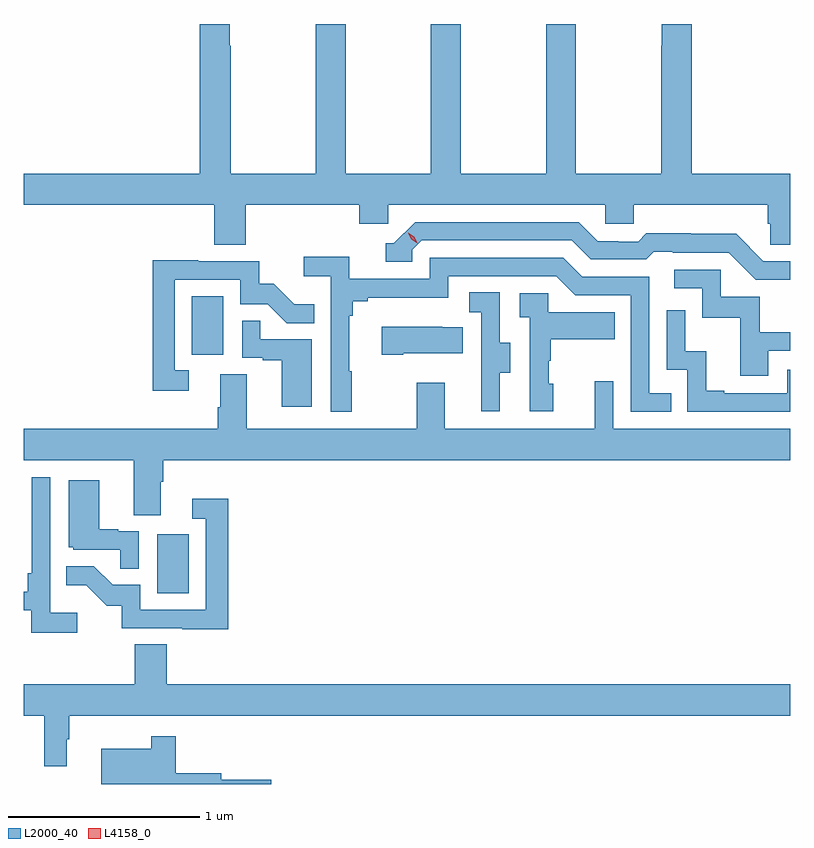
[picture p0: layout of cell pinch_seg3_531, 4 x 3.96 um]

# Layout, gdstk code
import gdstk
lib = gdstk.Library(unit=1e-6, precision=1e-09)
def R(c, l, rs):  # rectangles x0, y0, x1, y1
    for r in rs: c.add(gdstk.rectangle(r[:2], r[2:], *l))
def P(c, l, *ps):  # polygons
    for p in ps: c.add(gdstk.Polygon(p, *l))
L2000_40 = (2000, 40)
L4158_0 = (4158, 0)

pinch_seg3_531 = lib.new_cell('pinch_seg3_531')
R(pinch_seg3_531, L2000_40, [(1119.74,704.22,1119.904,704.527), (1119.92,705.462,1120.084,705.769)])
P(pinch_seg3_531, L2000_40, [(1120.202,706.244),(1120.793,706.244),(1120.793,706.146),(1120.944,706.146),(1120.944,706.244),(1122.075,706.244),(1122.075,706.146),(1122.225,706.146),(1122.225,706.244),(1122.923,706.244),(1122.923,706.146),(1122.937,706.146),(1122.937,706.036),(1123.042,706.036),(1123.042,706.408),(1122.527,706.408),(1122.527,707.188),(1122.371,707.188),(1122.371,707.075),(1122.367,707.075),(1122.367,706.408),(1121.922,706.408),(1121.922,707.188),(1121.767,707.188),(1121.767,706.408),(1121.322,706.408),(1121.322,707.188),(1121.167,707.188),(1121.167,706.408),(1120.722,706.408),(1120.722,707.188),(1120.567,707.188),(1120.567,706.408),(1120.122,706.408),(1120.122,707.075),(1120.117,707.075),(1120.117,707.188),(1119.962,707.188),(1119.962,706.408),(1119.042,706.408),(1119.042,706.244),(1120.037,706.244),(1120.037,706.036),(1120.202,706.036)],
  [(1123.042,705.951),(1122.9,705.951),(1122.758,706.093),(1122.522,706.093),(1122.522,706.096),(1122.289,706.096),(1122.247,706.053),(1122.144,706.053),(1122.144,706.056),(1122.037,706.056),(1121.938,706.155),(1121.085,706.155),(1120.974,706.044),(1120.931,706.044),(1120.931,705.948),(1121.07,705.948),(1121.07,706.011),(1121.118,706.059),(1121.901,706.059),(1122,705.96),(1122.289,705.96),(1122.328,705.999),(1122.427,705.999),(1122.427,705.996),(1122.72,705.996),(1122.861,705.855),(1123.042,705.855)],
  [(1120.753,705.377),(1120.741,705.377),(1120.741,705.665),(1120.76,705.665),(1120.76,705.742),(1120.837,705.742),(1120.837,705.761),(1121.256,705.761),(1121.256,705.873),(1121.82,705.873),(1121.919,705.774),(1122.21,705.774),(1122.21,705.165),(1122.419,705.165),(1122.419,705.261),(1122.306,705.261),(1122.306,705.87),(1121.956,705.87),(1121.857,705.969),(1121.16,705.969),(1121.16,705.858),(1120.742,705.858),(1120.742,705.974),(1120.503,705.974),(1120.503,705.872),(1120.644,705.872),(1120.644,705.165),(1120.753,705.165)],
  [(1119.904,705.381),(1119.831,705.381),(1119.831,705.855),(1120.173,705.855),(1120.173,705.726),(1120.317,705.726),(1120.415,705.628),(1120.559,705.628),(1120.559,705.727),(1120.455,705.727),(1120.348,705.834),(1120.272,705.834),(1120.272,705.951),(1119.953,705.951),(1119.953,705.956),(1119.715,705.956),(1119.715,705.276),(1119.904,705.276)],
  [(1122.925,705.483),(1123.042,705.483),(1123.042,705.579),(1122.883,705.579),(1122.883,705.765),(1122.678,705.765),(1122.678,705.906),(1122.435,705.906),(1122.435,705.81),(1122.582,705.81),(1122.582,705.657),(1122.781,705.657),(1122.781,705.354),(1122.925,705.354)],
  [(1121.527,705.37),(1121.581,705.37),(1121.581,705.525),(1121.526,705.525),(1121.526,705.788),(1121.367,705.788),(1121.367,705.685),(1121.43,705.685),(1121.43,705.381),(1121.429,705.381),(1121.429,705.168),(1121.527,705.168)],
  [(1121.806,705.312),(1121.781,705.312),(1121.781,705.431),(1121.791,705.431),(1121.791,705.545),(1122.125,705.545),(1122.125,705.685),(1121.778,705.685),(1121.778,705.783),(1121.631,705.783),(1121.631,705.659),(1121.682,705.659),(1121.682,705.168),(1121.806,705.168)],
  [(1123.042,705.384),(1123.026,705.384),(1123.026,705.261),(1122.697,705.261),(1122.697,705.274),(1122.602,705.274),(1122.602,705.482),(1122.492,705.482),(1122.492,705.694),(1122.396,705.694),(1122.396,705.384),(1122.504,705.384),(1122.504,705.165),(1123.042,705.165)],
  [(1120.546,705.543),(1120.277,705.543),(1120.277,705.641),(1120.182,705.641),(1120.182,705.447),(1120.289,705.447),(1120.289,705.435),(1120.388,705.435),(1120.388,705.192),(1120.546,705.192)],
  [(1121.023,705.47),(1121.333,705.47),(1121.333,705.607),(1121.225,705.607),(1121.225,705.61),(1120.911,705.61),(1120.911,705.463),(1121.023,705.463)],
  [(1119.757,704.8),(1119.77,704.8),(1119.77,704.912),(1123.042,704.912),(1123.042,705.076),(1122.117,705.076),(1122.117,705.325),(1122.02,705.325),(1122.02,705.076),(1121.239,705.076),(1121.239,705.316),(1121.092,705.316),(1121.092,705.076),(1120.207,705.076),(1120.207,705.362),(1120.067,705.362),(1120.067,705.188),(1120.055,705.188),(1120.055,705.076),(1119.042,705.076),(1119.042,704.912),(1119.617,704.912),(1119.617,704.626),(1119.757,704.626)],
  [(1119.322,704.116),(1119.18,704.116),(1119.18,704.824),(1119.084,704.824),(1119.084,704.323),(1119.064,704.323),(1119.064,704.227),(1119.042,704.227),(1119.042,704.13),(1119.083,704.13),(1119.083,704.014),(1119.322,704.014)],
  [(1119.642,704.541),(1119.536,704.541),(1119.536,704.554),(1119.436,704.554),(1119.436,704.809),(1119.278,704.809),(1119.278,704.46),(1119.3,704.46),(1119.3,704.445),(1119.547,704.445),(1119.547,704.347),(1119.642,704.347)],
  [(1120.109,704.713),(1119.921,704.713),(1119.921,704.607),(1119.993,704.607),(1119.993,704.133),(1119.651,704.133),(1119.651,704.262),(1119.507,704.262),(1119.409,704.36),(1119.265,704.36),(1119.265,704.261),(1119.369,704.261),(1119.476,704.154),(1119.553,704.154),(1119.553,704.037),(1119.871,704.037),(1119.871,704.032),(1120.109,704.032)],
  [(1119.268,703.457),(1119.28,703.457),(1119.28,703.58),(1123.042,703.58),(1123.042,703.744),(1119.788,703.744),(1119.788,703.952),(1119.623,703.952),(1119.623,703.744),(1119.042,703.744),(1119.042,703.58),(1119.151,703.58),(1119.151,703.317),(1119.268,703.317)],
  [(1120.333,703.245),(1120.072,703.245),(1120.072,703.279),(1119.836,703.279),(1119.836,703.474),(1119.708,703.474),(1119.708,703.408),(1119.446,703.408),(1119.446,703.224),(1120.333,703.224)])
P(pinch_seg3_531, L4158_0, [(1121.095,706.045),(1121.064,706.066),(1121.048,706.099),(1121.048,706.099),(1121.049,706.099),(1121.079,706.079),(1121.095,706.046),(1121.095,706.045)])

lib.write_gds('pinch_seg3_531.gds')
